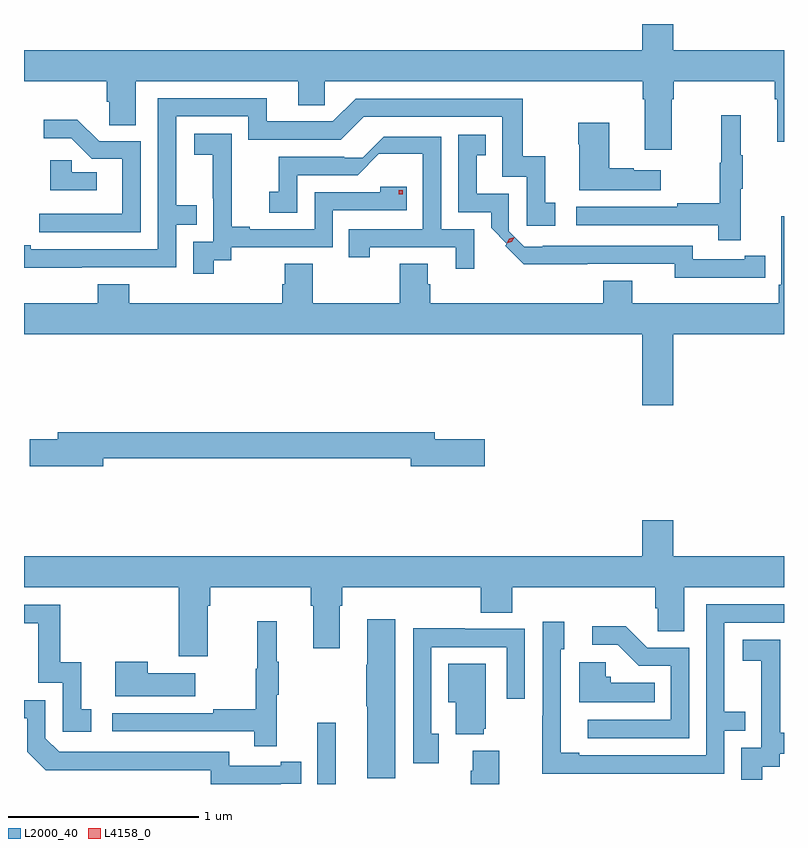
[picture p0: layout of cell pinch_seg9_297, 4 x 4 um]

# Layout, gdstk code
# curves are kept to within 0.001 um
import gdstk
lib = gdstk.Library(unit=1e-6, precision=1e-09)
def R(c, l, rs):  # rectangles x0, y0, x1, y1
    for r in rs: c.add(gdstk.rectangle(r[:2], r[2:], *l))
def P(c, l, *ps):  # polygons
    for p in ps: c.add(gdstk.Polygon(p, *l))
L2000_40 = (2000, 40)
L4158_0 = (4158, 0)

pinch_seg9_297 = lib.new_cell('pinch_seg9_297')
R(pinch_seg9_297, L2000_40, [(510.951,1186.061,511.048,1186.384)])
P(pinch_seg9_297, L2000_40, [(512.815,1189.664),(512.828,1189.664),(512.828,1189.76),(513.359,1189.76),(513.359,1189.664),(513.371,1189.664),(513.371,1189.44),(513.407,1189.44),(513.407,1189.924),(512.824,1189.924),(512.824,1190.061),(512.66,1190.061),(512.66,1189.924),(509.407,1189.924),(509.407,1189.76),(509.843,1189.76),(509.843,1189.651),(509.856,1189.651),(509.856,1189.528),(509.995,1189.528),(509.995,1189.76),(510.851,1189.76),(510.851,1189.633),(510.99,1189.633),(510.99,1189.76),(512.663,1189.76),(512.663,1189.664),(512.675,1189.664),(512.675,1189.398),(512.815,1189.398)],
  [(509.711,1188.78),(510.207,1188.78),(510.207,1189.005),(510.317,1189.005),(510.317,1189.106),(510.207,1189.106),(510.207,1189.575),(510.588,1189.575),(510.588,1189.452),(511.074,1189.452),(511.194,1189.572),(511.923,1189.572),(511.923,1189.257),(512.052,1189.257),(512.052,1188.999),(512.203,1188.999),(512.203,1189.119),(512.15,1189.119),(512.15,1189.366),(512.032,1189.366),(512.032,1189.668),(511.152,1189.668),(511.032,1189.548),(510.685,1189.548),(510.685,1189.671),(510.111,1189.671),(510.111,1188.876),(509.443,1188.876),(509.443,1188.896),(509.407,1188.896),(509.407,1188.779)],
  [(513.179,1189.195),(513.19,1189.195),(513.19,1189.369),(513.179,1189.369),(513.179,1189.582),(513.076,1189.582),(513.076,1189.332),(513.069,1189.332),(513.069,1189.118),(512.845,1189.118),(512.845,1189.098),(512.313,1189.098),(512.313,1189.002),(513.061,1189.002),(513.061,1188.924),(513.179,1188.924)],
  [(510.021,1189.443),(509.802,1189.443),(509.687,1189.558),(509.511,1189.558),(509.511,1189.46),(509.655,1189.46),(509.763,1189.353),(509.924,1189.353),(509.924,1189.062),(509.487,1189.062),(509.487,1188.966),(510.021,1188.966)],
  [(512.758,1189.291),(512.615,1189.291),(512.615,1189.301),(512.488,1189.301),(512.488,1189.54),(512.323,1189.54),(512.323,1189.427),(512.33,1189.427),(512.33,1189.187),(512.758,1189.187)],
  [(510.406,1188.817),(510.498,1188.817),(510.498,1188.885),(511.032,1188.885),(511.032,1189.08),(511.421,1189.08),(511.421,1189.204),(511.281,1189.204),(511.281,1189.176),(510.936,1189.176),(510.936,1188.981),(510.595,1188.981),(510.595,1188.994),(510.5,1188.994),(510.5,1189.277),(510.501,1189.277),(510.501,1189.483),(510.303,1189.483),(510.303,1189.373),(510.401,1189.373),(510.401,1189.145),(510.402,1189.145),(510.402,1188.915),(510.297,1188.915),(510.297,1188.747),(510.406,1188.747)],
  [(513.2,1188.726),(513.308,1188.726),(513.308,1188.842),(513.2,1188.842),(513.2,1188.822),(512.928,1188.822),(512.928,1188.894),(512.137,1188.894),(512.137,1188.888),(512.04,1188.888),(511.959,1188.969),(511.959,1189.167),(511.789,1189.167),(511.789,1189.371),(511.838,1189.371),(511.838,1189.477),(511.692,1189.477),(511.692,1189.071),(511.866,1189.071),(511.866,1188.988),(511.949,1188.905),(511.939,1188.895),(512.037,1188.797),(512.832,1188.798),(512.832,1188.725)],
  [(511.776,1188.981),(511.602,1188.981),(511.602,1189.467),(511.301,1189.467),(511.19,1189.356),(511.093,1189.356),(511.093,1189.362),(510.748,1189.362),(510.748,1189.177),(510.699,1189.177),(510.699,1189.068),(510.846,1189.068),(510.846,1189.266),(511.163,1189.266),(511.274,1189.377),(511.506,1189.377),(511.506,1188.981),(511.117,1188.981),(511.117,1188.834),(511.228,1188.834),(511.228,1188.885),(511.679,1188.885),(511.679,1188.774),(511.776,1188.774)],
  [(509.79,1189.282),(509.657,1189.282),(509.657,1189.344),(509.545,1189.344),(509.545,1189.185),(509.79,1189.185)],
  [(512.824,1188.428),(513.407,1188.428),(513.407,1189.048),(513.393,1189.048),(513.393,1188.688),(513.38,1188.688),(513.38,1188.592),(512.608,1188.592),(512.608,1188.709),(512.456,1188.709),(512.456,1188.592),(511.544,1188.592),(511.544,1188.69),(511.531,1188.69),(511.531,1188.8),(511.384,1188.8),(511.384,1188.592),(510.927,1188.592),(510.927,1188.8),(510.779,1188.8),(510.779,1188.69),(510.767,1188.69),(510.767,1188.592),(509.96,1188.592),(509.96,1188.691),(509.795,1188.691),(509.795,1188.592),(509.407,1188.592),(509.407,1188.428),(512.66,1188.428),(512.66,1188.054),(512.824,1188.054)],
  [(509.824,1187.776),(511.442,1187.776),(511.442,1187.734),(511.831,1187.734),(511.831,1187.876),(511.57,1187.876),(511.57,1187.912),(509.585,1187.912),(509.585,1187.876),(509.436,1187.876),(509.436,1187.734),(509.824,1187.734)],
  [(510.373,1187),(510.386,1187),(510.386,1187.096),(510.917,1187.096),(510.917,1187),(510.929,1187),(510.929,1186.776),(511.069,1186.776),(511.069,1187),(511.082,1187),(511.082,1187.096),(511.811,1187.096),(511.811,1186.963),(511.976,1186.963),(511.976,1187.096),(512.729,1187.096),(512.729,1186.987),(512.742,1186.987),(512.742,1186.864),(512.881,1186.864),(512.881,1187.096),(513.407,1187.096),(513.407,1187.26),(512.824,1187.26),(512.824,1187.449),(512.66,1187.449),(512.66,1187.26),(509.407,1187.26),(509.407,1187.096),(510.221,1187.096),(510.221,1186.734),(510.373,1186.734)],
  [(512.597,1186.116),(513.093,1186.116),(513.093,1186.341),(513.203,1186.341),(513.203,1186.442),(513.093,1186.442),(513.093,1186.911),(513.407,1186.911),(513.407,1187.007),(512.997,1187.007),(512.997,1186.212),(512.329,1186.212),(512.329,1186.225),(512.232,1186.225),(512.232,1186.77),(512.251,1186.77),(512.251,1186.915),(512.136,1186.915),(512.136,1186.421),(512.134,1186.421),(512.134,1186.115),(512.597,1186.115)],
  [(509.761,1186.455),(509.708,1186.455),(509.708,1186.702),(509.597,1186.702),(509.597,1187.004),(509.407,1187.004),(509.407,1186.908),(509.481,1186.908),(509.481,1186.593),(509.61,1186.593),(509.61,1186.335),(509.761,1186.335)],
  [(511.36,1186.927),(511.214,1186.927),(511.214,1186.688),(511.207,1186.688),(511.207,1186.471),(511.214,1186.471),(511.214,1186.092),(511.36,1186.092)],
  [(510.737,1186.531),(510.748,1186.531),(510.748,1186.705),(510.737,1186.705),(510.737,1186.918),(510.634,1186.918),(510.634,1186.668),(510.627,1186.668),(510.627,1186.454),(510.403,1186.454),(510.403,1186.434),(509.871,1186.434),(509.871,1186.338),(510.619,1186.338),(510.619,1186.26),(510.737,1186.26)],
  [(512.907,1186.779),(512.688,1186.779),(512.575,1186.892),(512.397,1186.892),(512.397,1186.794),(512.531,1186.794),(512.642,1186.683),(512.811,1186.683),(512.811,1186.398),(512.373,1186.398),(512.373,1186.302),(512.907,1186.302)],
  [(511.591,1186.326),(511.551,1186.326),(511.551,1186.782),(511.947,1186.782),(511.947,1186.509),(512.043,1186.509),(512.043,1186.878),(511.727,1186.878),(511.727,1186.88),(511.455,1186.88),(511.455,1186.17),(511.591,1186.17)],
  [(513.292,1186.153),(513.384,1186.153),(513.384,1186.221),(513.407,1186.221),(513.407,1186.33),(513.386,1186.33),(513.386,1186.613),(513.387,1186.613),(513.387,1186.819),(513.189,1186.819),(513.189,1186.709),(513.287,1186.709),(513.287,1186.481),(513.288,1186.481),(513.288,1186.251),(513.183,1186.251),(513.183,1186.083),(513.292,1186.083)],
  [(510.307,1186.645),(510.059,1186.645),(510.059,1186.705),(509.888,1186.705),(509.888,1186.523),(510.307,1186.523)],
  [(512.726,1186.594),(512.496,1186.594),(512.496,1186.626),(512.469,1186.626),(512.469,1186.702),(512.33,1186.702),(512.33,1186.49),(512.726,1186.49)],
  [(511.826,1186.353),(511.837,1186.353),(511.837,1186.693),(511.64,1186.693),(511.64,1186.49),(511.679,1186.49),(511.679,1186.322),(511.826,1186.322)],
  [(510.758,1186.062),(510.866,1186.062),(510.866,1186.178),(510.758,1186.178),(510.758,1186.158),(510.486,1186.158),(510.486,1186.23),(509.592,1186.23),(509.52,1186.302),(509.52,1186.503),(509.407,1186.503),(509.407,1186.407),(509.424,1186.407),(509.424,1186.23),(509.522,1186.133),(510.39,1186.134),(510.39,1186.061)],
  [(511.909,1186.237),(511.769,1186.237),(511.769,1186.13),(511.757,1186.13),(511.757,1186.061),(511.909,1186.061)])
R(pinch_seg9_297, L4158_0, [(511.38,1189.166,511.4,1189.186)])
P(pinch_seg9_297, L4158_0, [(511.949,1188.906),(511.949,1188.906),(511.962,1188.93),(511.987,1188.938),(511.988,1188.938),(511.988,1188.937),(511.974,1188.914),(511.949,1188.906)])

lib.write_gds('pinch_seg9_297.gds')
